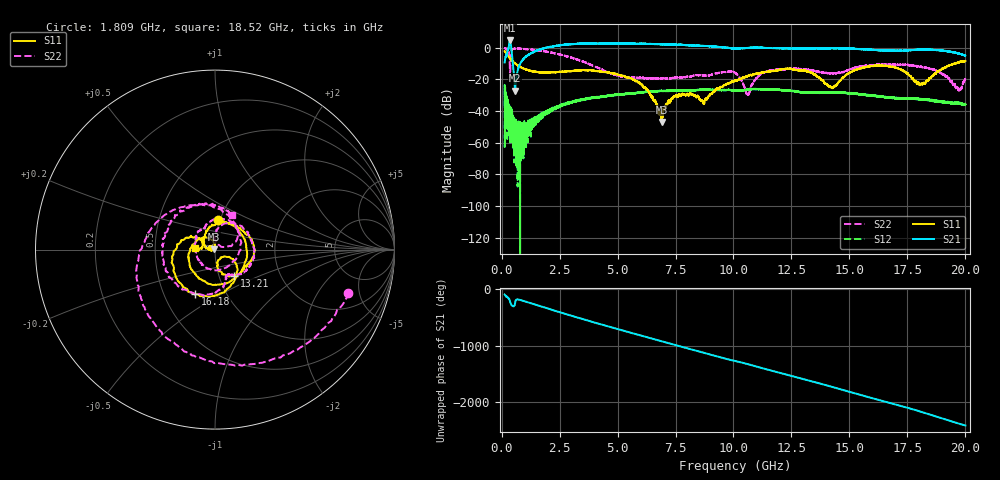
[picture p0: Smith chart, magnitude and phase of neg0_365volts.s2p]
!Created with skrf (http://scikit-rf.org).
# GHz S RI R 50.0
!freq ReS11 ImS11 ReS21 ImS21 ReS12 ImS12 ReS22 ImS22
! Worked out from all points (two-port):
!   20013 points, 130 MHz to 20 GHz, reference 50 ohm
!   highest |S21| = 4.65 dB at 356 MHz (marker M1); lowest = -27.0 dB at 581 MHz (marker M2)
!   |S21| within 3 dB of the highest: 317.6 MHz to 404.3 MHz (86.79 MHz wide, 24 % of centre); 2.535 GHz to 7.992 GHz (5.457 GHz wide, 104 % of centre) (the widest 2 of 29)
!   lowest |S11| = -46.8 dB at 6.91 GHz (marker M3), VSWR 1.01, Z = 49.6 + j0.191 ohm
!   |S11| at or under -10 dB: 593.5441 MHz to 595.2354 MHz (1.691 MHz wide, 0.285 % of centre); 596.5 MHz to 19.52 GHz (18.92 GHz wide, 188 % of centre); 19.52364 GHz to 19.5249 GHz (1.264 MHz wide, 0.00647 % of centre) (the widest 3 of 6)
!   |S22| runs from -29.9 to -0.2 dB; largest |S21 - S12| = 1.7
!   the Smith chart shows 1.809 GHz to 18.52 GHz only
!   S11 on the Smith chart (normalised r, x): 1.809 GHz: 0.98, +0.33; 13.21 GHz: 1.18, -0.36; 16.18 GHz: 0.71, -0.38; 18.52 GHz: 0.79, +0.01
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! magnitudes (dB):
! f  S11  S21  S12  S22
! 130 MHz  -2.1  -9.2  -26.4  -0.2
! 356 MHz  -6.5  4.7  -44.1  -13.2
! 581 MHz  -9.8  -27.0  -66.3  -0.5
! 1.809 GHz  -15.6  -0.3  -42.0  -2.2
! 3.442 GHz  -14.2  2.6  -33.1  -8.3
! 5.638 GHz  -19.8  2.7  -29.0  -18.8
! 6.754 GHz  -39.6  2.3  -27.4  -19.3
! 6.91 GHz  -46.8  2.2  -27.2  -19.3
! 7.469 GHz  -30.7  2.0  -26.8  -18.8
! 8.695 GHz  -34.7  1.2  -26.6  -17.4
! 10.06 GHz  -20.5  -0.5  -26.7  -15.7
! 10.61 GHz  -17.7  -0.1  -26.5  -29.7
! 11.37 GHz  -15.2  -0.1  -26.5  -15.4
! 13.21 GHz  -14.9  -0.3  -28.4  -13.8
! 13.38 GHz  -15.8  -0.4  -28.4  -14.3
! 14.28 GHz  -25.3  -0.2  -28.2  -16.1
! 16.18 GHz  -11.3  -1.4  -30.5  -10.6
! 16.69 GHz  -11.7  -1.7  -31.5  -10.7
! 17.99 GHz  -22.5  -1.2  -32.1  -11.7
! 18.52 GHz  -18.6  -1.2  -33.0  -13.4
! 19.74 GHz  -9.0  -3.7  -35.0  -26.5
! 20 GHz  -8.3  -5.0  -35.6  -19.1
